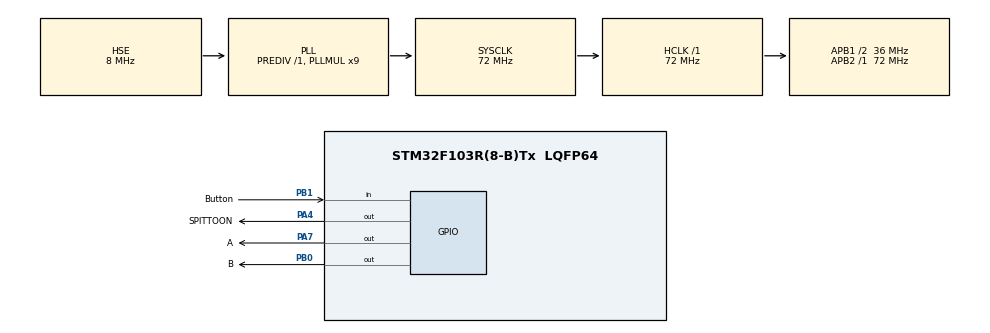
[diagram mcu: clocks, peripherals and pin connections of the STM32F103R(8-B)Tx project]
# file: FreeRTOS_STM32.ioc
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FREERTOS.Tasks01=defaultTask,24,128,StartDefaultTask,Default,NULL,Dynamic,NULL,NULL;Spray,8,128,vSpray,Default,NULL,Dynamic,NULL,NULL;FO,8,128,vFO,Default,NULL,Dynamic,NULL,NULL;Butoon,8,128,vButoon,Default,NULL,Dynamic,NULL,NULL;Result,8,128,vResult,Default,NULL,Dynamic,NULL,NULL
FREERTOS.configTOTAL_HEAP_SIZE=6114
Mcu.Family=STM32F1
Mcu.Name=STM32F103R(8-B)Tx
Mcu.Package=LQFP64
NVIC.PriorityGroup=NVIC_PRIORITYGROUP_4
PA13.Mode=Serial_Wire
PA13.Signal=SYS_JTMS-SWDIO
PA14.Mode=Serial_Wire
PA14.Signal=SYS_JTCK-SWCLK
PA4.GPIO_Label=SPITTOON
PA4.Signal=GPIO_Output
PA7.GPIO_Label=A
PA7.Signal=GPIO_Output
PB0.GPIO_Label=B
PB0.Signal=GPIO_Output
PB1.GPIO_Label=Button
PB1.GPIO_PuPd=GPIO_PULLUP
PB1.Signal=GPIO_Input
PD0-OSC_IN.Mode=HSE-External-Oscillator
PD0-OSC_IN.Signal=RCC_OSC_IN
PD1-OSC_OUT.Mode=HSE-External-Oscillator
PD1-OSC_OUT.Signal=RCC_OSC_OUT
ProjectManager.HeapSize=0x200
ProjectManager.StackSize=0x400
ProjectManager.TargetToolchain=MDK-ARM V5.32
RCC.AHBFreq_Value=72000000
RCC.APB1CLKDivider=RCC_HCLK_DIV2
RCC.APB1Freq_Value=36000000
RCC.APB1TimFreq_Value=72000000
RCC.APB2Freq_Value=72000000
RCC.APB2TimFreq_Value=72000000
RCC.HCLKFreq_Value=72000000
RCC.PLLMUL=RCC_PLL_MUL9
RCC.PLLSourceVirtual=RCC_PLLSOURCE_HSE
RCC.SYSCLKFreq_VALUE=72000000
RCC.SYSCLKSource=RCC_SYSCLKSOURCE_PLLCLK
RCC.USBFreq_Value=72000000
VP_FREERTOS_VS_CMSIS_V2.Mode=CMSIS_V2
board=custom

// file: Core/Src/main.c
/* USER CODE BEGIN Header */
/**
  ******************************************************************************
  * @file           : main.c
  * @brief          : Main program body
  ******************************************************************************
  * @attention
  *
  * Copyright (c) 2026 STMicroelectronics.
  * All rights reserved.
  *
  * This software is licensed under terms that can be found in the LICENSE file
  * in the root directory of this software component.
  * If no LICENSE file comes with this software, it is provided AS-IS.
  *
  ******************************************************************************
  */
/* USER CODE END Header */
#include "main.h"
#include "cmsis_os.h"

/* USER CODE BEGIN PM */
uint8_t k = 0;
/* USER CODE END PM */

/* Definitions for defaultTask */
osThreadId_t defaultTaskHandle;
const osThreadAttr_t defaultTask_attributes = {
  .name = "defaultTask",
  .stack_size = 128 * 4,
  .priority = (osPriority_t) osPriorityNormal,
};
/* Definitions for Spray */
osThreadId_t SprayHandle;
const osThreadAttr_t Spray_attributes = {
  .name = "Spray",
  .stack_size = 128 * 4,
  .priority = (osPriority_t) osPriorityLow,
};
/* Definitions for FO */
osThreadId_t FOHandle;
const osThreadAttr_t FO_attributes = {
  .name = "FO",
  .stack_size = 128 * 4,
  .priority = (osPriority_t) osPriorityLow,
};
/* Definitions for Butoon */
osThreadId_t ButoonHandle;
const osThreadAttr_t Butoon_attributes = {
  .name = "Butoon",
  .stack_size = 128 * 4,
  .priority = (osPriority_t) osPriorityLow,
};
/* Definitions for Result */
osThreadId_t ResultHandle;
const osThreadAttr_t Result_attributes = {
  .name = "Result",
  .stack_size = 128 * 4,
  .priority = (osPriority_t) osPriorityLow,
};

void SystemClock_Config(void);
static void MX_GPIO_Init(void);
void StartDefaultTask(void *argument);
void vSpray(void *argument);
void vFO(void *argument);
void vButoon(void *argument);
void vResult(void *argument);

int main(void)
{

  /* MCU Configuration--------------------------------------------------------*/

  /* Reset of all peripherals, Initializes the Flash interface and the Systick. */
  HAL_Init();

  /* Configure the system clock */
  SystemClock_Config();

  /* Initialize all configured peripherals */
  MX_GPIO_Init();

  /* Init scheduler */
  osKernelInitialize();

  /* Create the thread(s) */
  /* creation of defaultTask */
  defaultTaskHandle = osThreadNew(StartDefaultTask, NULL, &defaultTask_attributes);

  /* creation of Spray */
  SprayHandle = osThreadNew(vSpray, NULL, &Spray_attributes);

  /* creation of FO */
  FOHandle = osThreadNew(vFO, NULL, &FO_attributes);

  /* creation of Butoon */
  ButoonHandle = osThreadNew(vButoon, NULL, &Butoon_attributes);

  /* creation of Result */
  ResultHandle = osThreadNew(vResult, NULL, &Result_attributes);

  /* Start scheduler */
  osKernelStart();

  /* We should never get here as control is now taken by the scheduler */

  /* Infinite loop */

}

void SystemClock_Config(void)
{
  RCC_OscInitTypeDef RCC_OscInitStruct = {0};
  RCC_ClkInitTypeDef RCC_ClkInitStruct = {0};

  /** Initializes the RCC Oscillators according to the specified parameters
  * in the RCC_OscInitTypeDef structure.
  */
  RCC_OscInitStruct.OscillatorType = RCC_OSCILLATORTYPE_HSE;
  RCC_OscInitStruct.HSEState = RCC_HSE_ON;
  RCC_OscInitStruct.HSEPredivValue = RCC_HSE_PREDIV_DIV1;
  RCC_OscInitStruct.HSIState = RCC_HSI_ON;
  RCC_OscInitStruct.PLL.PLLState = RCC_PLL_ON;
  RCC_OscInitStruct.PLL.PLLSource = RCC_PLLSOURCE_HSE;
  RCC_OscInitStruct.PLL.PLLMUL = RCC_PLL_MUL9;
  if (HAL_RCC_OscConfig(&RCC_OscInitStruct) != HAL_OK)
  {
    Error_Handler();
  }

  /** Initializes the CPU, AHB and APB buses clocks
  */
  RCC_ClkInitStruct.ClockType = RCC_CLOCKTYPE_HCLK|RCC_CLOCKTYPE_SYSCLK
                              |RCC_CLOCKTYPE_PCLK1|RCC_CLOCKTYPE_PCLK2;
  RCC_ClkInitStruct.SYSCLKSource = RCC_SYSCLKSOURCE_PLLCLK;
  RCC_ClkInitStruct.AHBCLKDivider = RCC_SYSCLK_DIV1;
  RCC_ClkInitStruct.APB1CLKDivider = RCC_HCLK_DIV2;
  RCC_ClkInitStruct.APB2CLKDivider = RCC_HCLK_DIV1;

  if (HAL_RCC_ClockConfig(&RCC_ClkInitStruct, FLASH_LATENCY_2) != HAL_OK)
  {
    Error_Handler();
  }
}

static void MX_GPIO_Init(void)
{
  GPIO_InitTypeDef GPIO_InitStruct = {0};

  /* GPIO Ports Clock Enable */
  __HAL_RCC_GPIOD_CLK_ENABLE();
  __HAL_RCC_GPIOA_CLK_ENABLE();
  __HAL_RCC_GPIOB_CLK_ENABLE();

  /*Configure GPIO pin Output Level */
  HAL_GPIO_WritePin(GPIOA, SPITTOON_Pin|A_Pin, GPIO_PIN_RESET);

  /*Configure GPIO pin Output Level */
  HAL_GPIO_WritePin(B_GPIO_Port, B_Pin, GPIO_PIN_RESET);

  /*Configure GPIO pins : SPITTOON_Pin A_Pin */
  GPIO_InitStruct.Pin = SPITTOON_Pin|A_Pin;
  GPIO_InitStruct.Mode = GPIO_MODE_OUTPUT_PP;
  GPIO_InitStruct.Pull = GPIO_NOPULL;
  GPIO_InitStruct.Speed = GPIO_SPEED_FREQ_LOW;
  HAL_GPIO_Init(GPIOA, &GPIO_InitStruct);

  /*Configure GPIO pin : B_Pin */
  GPIO_InitStruct.Pin = B_Pin;
  GPIO_InitStruct.Mode = GPIO_MODE_OUTPUT_PP;
  GPIO_InitStruct.Pull = GPIO_NOPULL;
  GPIO_InitStruct.Speed = GPIO_SPEED_FREQ_LOW;
  HAL_GPIO_Init(B_GPIO_Port, &GPIO_InitStruct);

  /*Configure GPIO pin : Button_Pin */
  GPIO_InitStruct.Pin = Button_Pin;
  GPIO_InitStruct.Mode = GPIO_MODE_INPUT;
  GPIO_InitStruct.Pull = GPIO_PULLUP;
  HAL_GPIO_Init(Button_GPIO_Port, &GPIO_InitStruct);

}

void StartDefaultTask(void *argument)
{
  /* USER CODE BEGIN 5 */
  /* Infinite loop */
  for(;;)
  {
		HAL_GPIO_TogglePin (GPIOA,GPIO_PIN_4);
    osDelay(1000);
  }
  /* USER CODE END 5 */
}

void vSpray(void *argument)
{
  /* USER CODE BEGIN vSpray */
  /* Infinite loop */
  for(;;)
  {
		HAL_GPIO_TogglePin (GPIOA, GPIO_PIN_7);
    osDelay(500);
  }
  /* USER CODE END vSpray */
}

void vFO(void *argument)
{
  for(;;)
  {
    osDelay(1);
  }
}

void vButoon(void *argument)
{
  /* USER CODE BEGIN vButoon */
  /* Infinite loop */
  for(;;)
  {
		if (HAL_GPIO_ReadPin (GPIOB, GPIO_PIN_1) == GPIO_PIN_SET)
		{
			while (HAL_GPIO_ReadPin (GPIOB, GPIO_PIN_1) == GPIO_PIN_SET)
			{
				vTaskDelay (50);
			}
			k=1;
		}
		if (HAL_GPIO_ReadPin (GPIOB, GPIO_PIN_1) == GPIO_PIN_RESET)
		{
			while (HAL_GPIO_ReadPin (GPIOB, GPIO_PIN_1) == GPIO_PIN_RESET)
			{
				vTaskDelay (50);
			}
			k=0;
		}
		osDelay (100);
  }
  /* USER CODE END vButoon */
}

void vResult(void *argument)
{
  /* USER CODE BEGIN vResult */
  /* Infinite loop */
  for(;;)
  {
		if (k==1)
		{
			HAL_GPIO_WritePin (GPIOB, GPIO_PIN_0, GPIO_PIN_SET);
		}
		else
		{
			HAL_GPIO_WritePin (GPIOB, GPIO_PIN_0, GPIO_PIN_RESET);
		}
    osDelay(100);
  }
  /* USER CODE END vResult */
}

void Error_Handler(void)
{
  __disable_irq();
  while (1)
  {
  }
}
